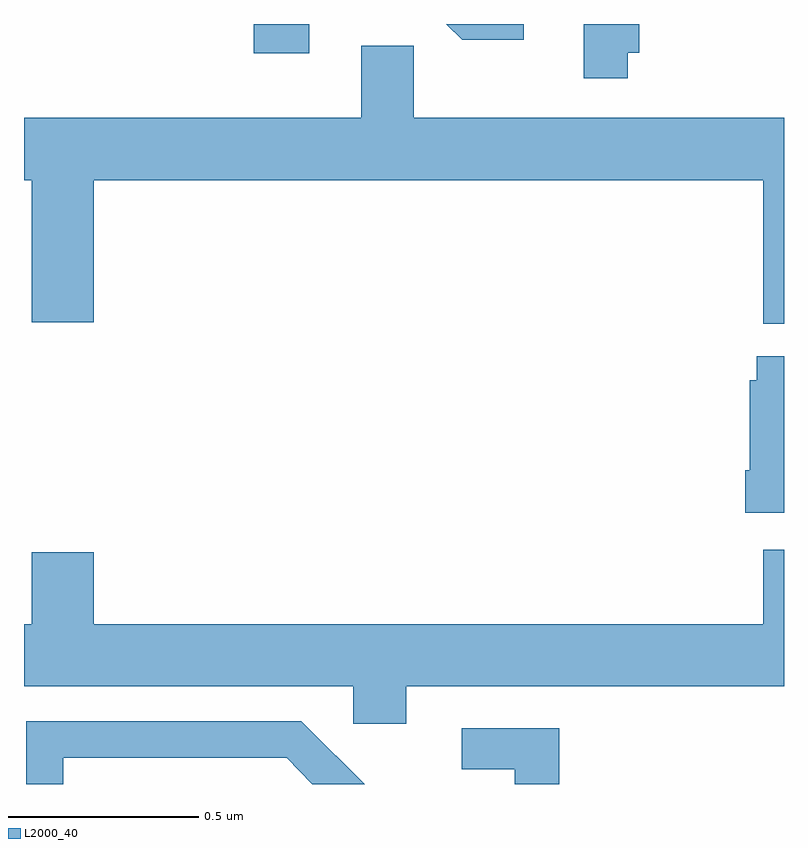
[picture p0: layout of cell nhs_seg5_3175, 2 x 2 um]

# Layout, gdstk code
import gdstk
lib = gdstk.Library(unit=1e-6, precision=1e-09)
def R(c, l, rs):  # rectangles x0, y0, x1, y1
    for r in rs: c.add(gdstk.rectangle(r[:2], r[2:], *l))
def P(c, l, *ps):  # polygons
    for p in ps: c.add(gdstk.Polygon(p, *l))
L2000_40 = (2000, 40)

nhs_seg5_3175 = lib.new_cell('nhs_seg5_3175')
R(nhs_seg5_3175, L2000_40, [(153.604,895.722,153.751,895.799)])
P(nhs_seg5_3175, L2000_40, [(154.589,895.724),(154.619,895.724),(154.619,895.799),(154.473,895.799),(154.473,895.656),(154.589,895.656)],
  [(154.315,895.799),(154.111,895.799),(154.153,895.757),(154.315,895.757)],
  [(155,895.552),(154.026,895.552),(154.026,895.742),(153.887,895.742),(153.887,895.552),(153,895.552),(153,895.388),(153.02,895.388),(153.02,895.014),(153.184,895.014),(153.184,895.388),(154.946,895.388),(154.946,895.01),(155,895.01)],
  [(155,894.925),(154.928,894.925),(154.928,894.861),(154.91,894.861),(154.91,894.625),(154.898,894.625),(154.898,894.513),(155,894.513)],
  [(154.006,894.056),(155,894.056),(155,894.415),(154.946,894.415),(154.946,894.22),(153.184,894.22),(153.184,894.409),(153.02,894.409),(153.02,894.22),(153,894.22),(153,894.056),(153.867,894.056),(153.867,893.958),(154.006,893.958)],
  [(153.103,893.868),(153.691,893.868),(153.759,893.799),(153.897,893.799),(153.822,893.874),(153.821,893.873),(153.73,893.964),(153.006,893.964),(153.006,893.799),(153.103,893.799)],
  [(154.409,893.946),(154.152,893.946),(154.152,893.838),(154.292,893.838),(154.292,893.799),(154.409,893.799)])

lib.write_gds('nhs_seg5_3175.gds')
